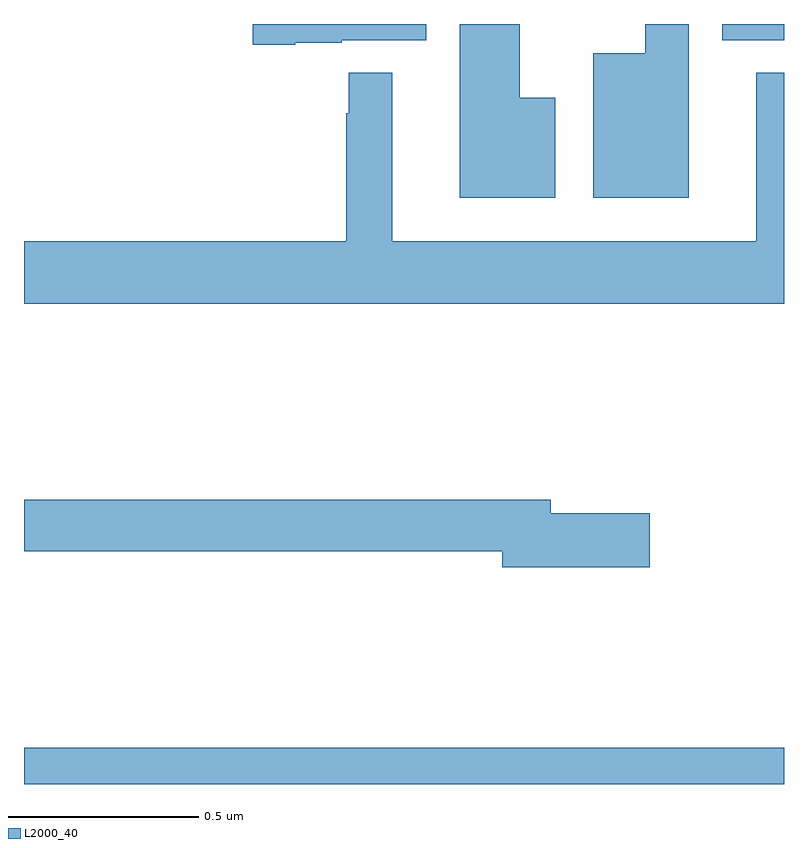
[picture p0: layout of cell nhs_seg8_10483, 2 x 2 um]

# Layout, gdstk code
import gdstk
lib = gdstk.Library(unit=1e-6, precision=1e-09)
def R(c, l, rs):  # rectangles x0, y0, x1, y1
    for r in rs: c.add(gdstk.rectangle(r[:2], r[2:], *l))
def P(c, l, *ps):  # polygons
    for p in ps: c.add(gdstk.Polygon(p, *l))
L2000_40 = (2000, 40)

nhs_seg8_10483 = lib.new_cell('nhs_seg8_10483')
R(nhs_seg8_10483, L2000_40, [(250,1117.9,252,1117.996), (251.837,1119.857,252,1119.9)])
P(nhs_seg8_10483, L2000_40, [(250.714,1119.851),(250.836,1119.851),(250.836,1119.857),(251.059,1119.857),(251.059,1119.9),(250.602,1119.9),(250.602,1119.845),(250.714,1119.845)],
  [(251.749,1119.9),(251.635,1119.9),(251.635,1119.823),(251.498,1119.823),(251.498,1119.443),(251.749,1119.443)],
  [(251.398,1119.706),(251.305,1119.706),(251.305,1119.9),(251.147,1119.9),(251.147,1119.443),(251.398,1119.443)],
  [(252,1119.772),(251.927,1119.772),(251.927,1119.328),(250.969,1119.328),(250.969,1119.772),(250.855,1119.772),(250.855,1119.665),(250.848,1119.665),(250.848,1119.328),(250,1119.328),(250,1119.164),(252,1119.164)],
  [(251.647,1118.612),(251.386,1118.612),(251.386,1118.648),(250,1118.648),(250,1118.512),(251.258,1118.512),(251.258,1118.47),(251.647,1118.47)])

lib.write_gds('nhs_seg8_10483.gds')
